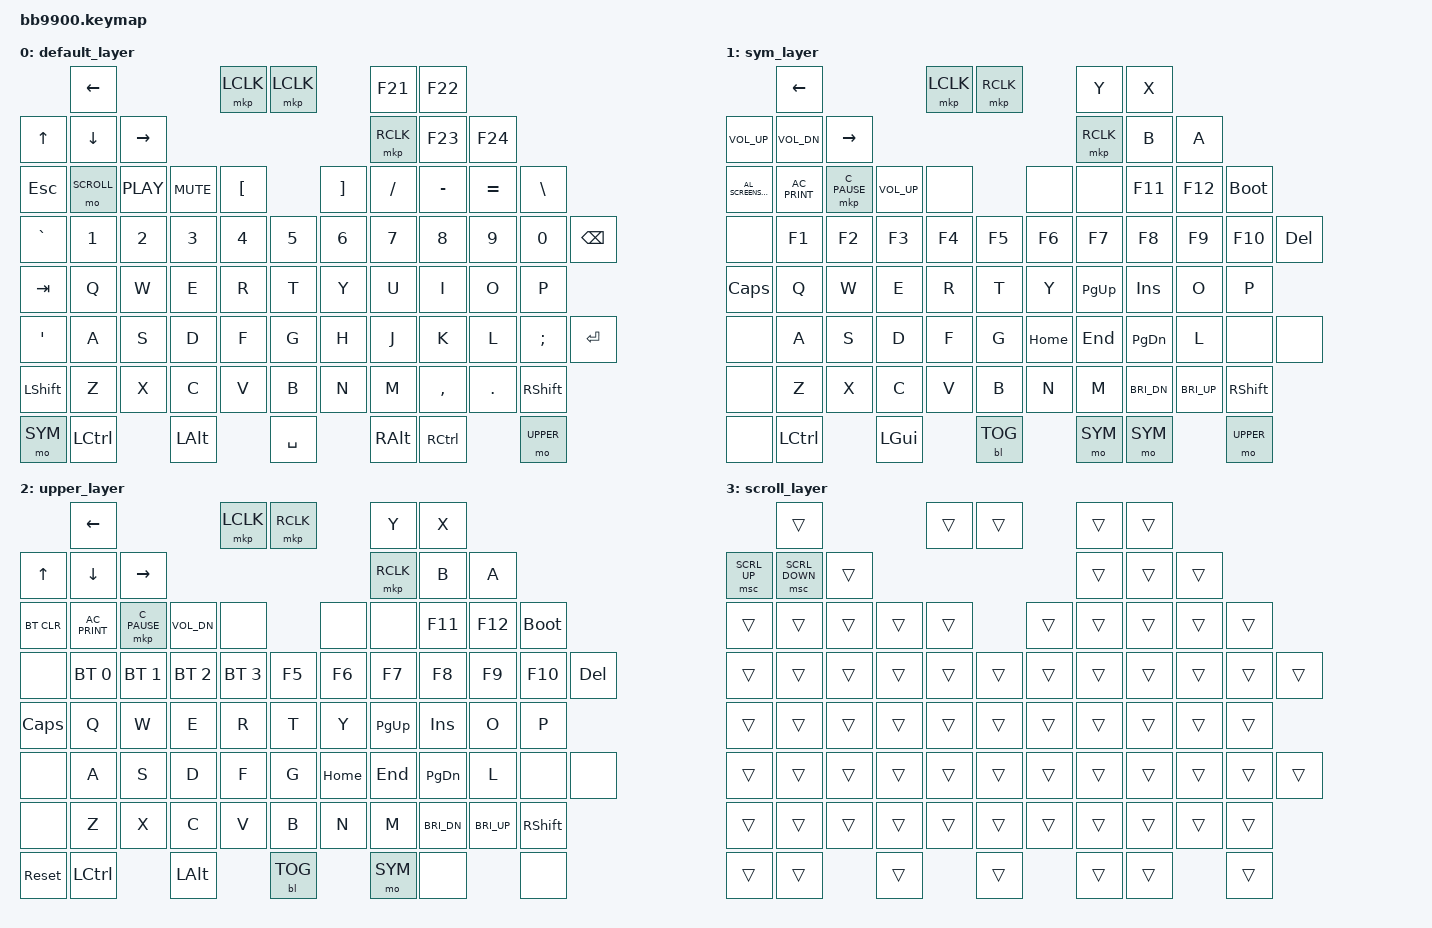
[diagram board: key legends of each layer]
/*
 * Copyright (c) 2023 ZitaoTech
 *
 * SPDX-License-Identifier: MIT
 */
   
#include <behaviors.dtsi>
#include <dt-bindings/zmk/keys.h>
#include <dt-bindings/zmk/bt.h>
#include <dt-bindings/zmk/outputs.h>
#include <dt-bindings/zmk/mouse.h>
#include <dt-bindings/zmk/backlight.h>
#include <dt-bindings/zmk/ext_power.h>

#define SYM 1
#define UPPER 2
#define SCROLL 3      /* ADDED: must match BB_SCROLL_LAYER in hid_input_listener.c */

 


/ {
    behaviors {
        td0: tap_dance_0 {
            compatible = "zmk,behavior-tap-dance";
            #binding-cells = <0>;
            tapping-term-ms = <400>;
            bindings = <&mkp LCLK>, <&bt BT_CLR>;
        };
    };
    behaviors {
        hm: homerow_mods {
            compatible = "zmk,behavior-hold-tap";
            #binding-cells = <2>;
            tapping-term-ms = <500>;
            bindings = <&out &kp>;
        };
    };

    keymap {
        compatible = "zmk,keymap";

        default_layer {

            bindings = <
//---------------------------------------------------------------------------------------------------------
// |  ←  | ↑   | ↓   | →   |  Mleft  |  Mright |  Trackpad    |  Y  |  B  |  X  |  A  |                                       
// |  ESC   |  SELECT  | Start |                 voive  |   [  |  ]  |   /  |  -  |  =  |  \  |
// |   ~   |  1  |  2  |  3  |  4  |  5  |  6  |  7  |  8  |  9  |  0  |  Backspace  |
// |   TAB   |  Q  |  W  |  E  |  R  |  T  |  Y  |  U  |  I  |  O  |  P  | 
// |    '      |  A  |  S  |  D  |  F  |  G  |  H  |  J  |  K  |  L  |  ;  |     ENTER   |  
// |  LShift  |  Z  |  X  |  C  |  V  |  B  |  N  |  M  |  <  |  >  |  ;  |  RShift  |  
//        |  Fn  |  LCtrl  |  Alt   |      SPACE      |   Alt   |  RCtrl   |  Fn   |  
//        -----------------------------------------------------------------------------------------------------------------
            &kp LEFT                      &mkp LCLK         &mkp LCLK      &kp F21   &kp F22 
&kp UP   &kp DOWN &kp RIGHT               &mkp RCLK                       &kp  F23      &kp F24
&kp ESC    &mo SCROLL      &kp C_PLAY &kp K_MUTE    &kp LBKT   &kp RBKT   &kp FSLH   &kp MINUS  &kp  EQUAL &kp BACKSLASH                                                                                  
&kp GRAVE  &kp N1        &kp N2     &kp N3   &kp N4     &kp N5     &kp N6     &kp N7     &kp N8    &kp N9  &kp N0 &kp BSPC
&kp TAB     &kp Q         &kp W      &kp E    &kp R      &kp T      &kp Y      &kp U      &kp I     &kp O   &kp P
&kp SQT     &kp A         &kp S      &kp D    &kp F      &kp G      &kp H      &kp J      &kp K     &kp L   &kp SEMICOLON &kp ENTER        
&kp LSHFT   &kp Z         &kp X      &kp C    &kp V      &kp B      &kp N      &kp M      &kp COMMA &kp DOT &kp RSHFT
  &mo SYM   &kp LCTRL               &kp LALT              &kp SPACE           &kp RALT         &kp RCTRL     &mo UPPER        
            >;
        };


        sym_layer {

            bindings = <
        &kp LEFT                      &mkp LCLK         &mkp RCLK      &kp Y   &kp X 
&kp K_VOL_UP   &kp K_VOL_DN &kp RIGHT               &mkp RCLK                       &kp  B      &kp A
&kp C_AL_SCREENSAVER  &kp C_AC_PRINT &mkp C_PAUSE  &kp K_VOL_UP &none   &none   &none   &kp F11    &kp F12   &bootloader                                                                                   
&none    &kp F1         &kp F2        &kp F3     &kp F4     &kp F5     &kp F6     &kp F7     &kp F8    &kp F9  &kp F10 &kp DEL
&kp CAPSLOCK    &kp Q          &kp W         &kp E      &kp R      &kp T      &kp Y      &kp PAGE_UP      &kp INSERT     &kp O   &kp P
&none    &kp A          &kp S         &kp D      &kp F      &kp G      &kp HOME      &kp END      &kp PAGE_DOWN     &kp L   &none &none         
&none    &kp Z          &kp X         &kp C      &kp V      &kp B      &kp N      &kp M      &kp C_BRI_DN &kp C_BRI_UP &kp RSHFT
  &none  &kp LCTRL               &kp LGUI             &bl BL_TOG           &mo SYM         &mo SYM     &mo UPPER           

            >;
        };


        upper_layer {

            bindings = <
        &kp LEFT                      &mkp LCLK         &mkp RCLK      &kp Y   &kp X 
&kp UP   &kp DOWN &kp RIGHT               &mkp RCLK                       &kp  B      &kp A
&bt BT_CLR  &kp C_AC_PRINT &mkp C_PAUSE  &kp K_VOL_DN &none   &none   &none   &kp F11    &kp F12   &bootloader                                                                                   
&none     &bt BT_SEL 0          &bt BT_SEL 1         &bt BT_SEL 2      &bt BT_SEL 3     &kp F5     &kp F6     &kp F7     &kp F8    &kp F9  &kp F10 &kp DEL
&kp CAPSLOCK    &kp Q          &kp W         &kp E      &kp R      &kp T      &kp Y      &kp PAGE_UP      &kp INSERT     &kp O   &kp P
&none    &kp A          &kp S         &kp D      &kp F      &kp G      &kp HOME      &kp END      &kp PAGE_DOWN     &kp L   &none &none         
&none    &kp Z          &kp X         &kp C      &kp V      &kp B      &kp N      &kp M      &kp C_BRI_DN &kp C_BRI_UP &kp RSHFT
  &sys_reset  &kp LCTRL               &kp LALT             &bl BL_TOG           &mo SYM         &none     &none           

            >;
        };


        scroll_layer {
            bindings = <
            &trans                       &trans            &trans         &trans    &trans
&msc SCRL_UP   &msc SCRL_DOWN   &trans                 &trans                          &trans        &trans
&trans     &trans        &trans     &trans        &trans     &trans     &trans     &trans     &trans     &trans
&trans     &trans        &trans     &trans   &trans     &trans     &trans     &trans     &trans    &trans  &trans &trans
&trans     &trans        &trans     &trans   &trans     &trans     &trans     &trans     &trans    &trans  &trans
&trans     &trans        &trans     &trans   &trans     &trans     &trans     &trans     &trans    &trans  &trans &trans
&trans     &trans        &trans     &trans   &trans     &trans     &trans     &trans     &trans    &trans  &trans
  &trans   &trans                  &trans                &trans              &trans           &trans        &trans
            >;
        };

    };
};

